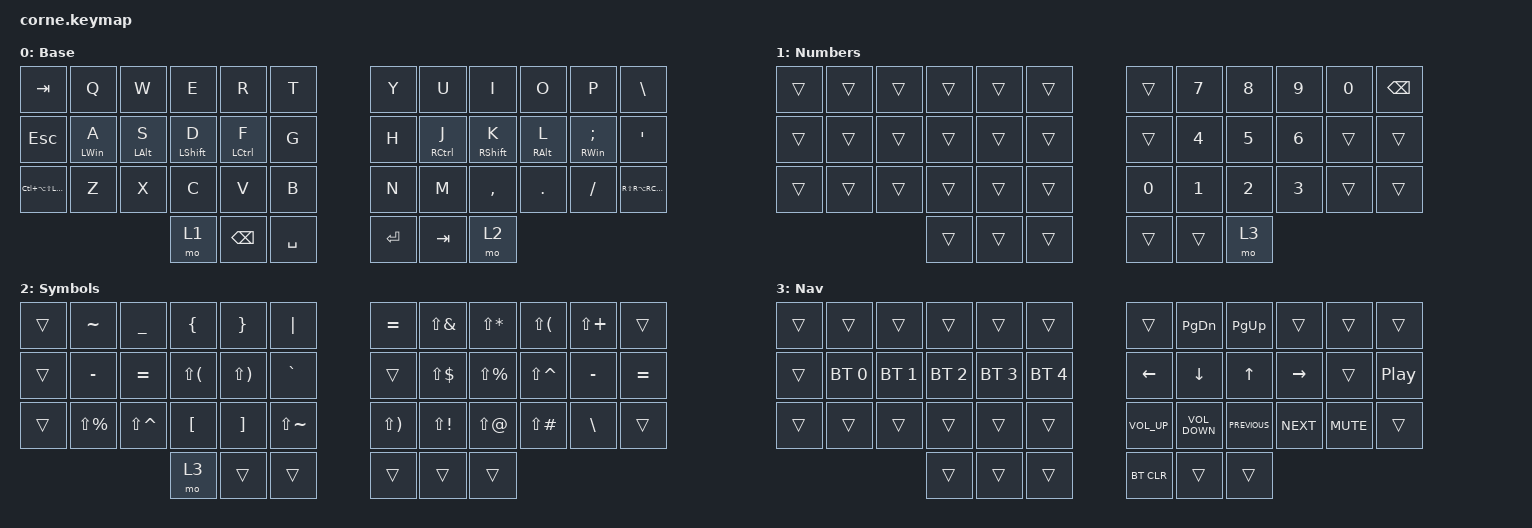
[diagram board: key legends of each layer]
/*
 * Copyright (c) 2020 The ZMK Contributors
 *
 * SPDX-License-Identifier: MIT
 */

#include <behaviors.dtsi>
#include <dt-bindings/zmk/bt.h>
#include <dt-bindings/zmk/keys.h>

&mt { flavor = "tap-preferred"; };

/ {
    keymap {
        compatible = "zmk,keymap";

        default_layer {
            // -----------------------------------------------------------------------------------------
            // |  TAB |  Q  |  W  |  E  |  R  |  T  |   |  Y  |  U   |  I  |  O  |  P  | BKSP |
            // | CTRL |  A  |  S  |  D  |  F  |  G  |   |  H  |  J   |  K  |  L  |  ;  |  '   |
            // | SHFT |  Z  |  X  |  C  |  V  |  B  |   |  N  |  M   |  ,  |  .  |  /  | ESC  |
            //                    | GUI | LWR | SPC |   | ENT | RSE  | ALT |

            display-name = "Base";
            bindings = <
&kp TAB               &kp Q           &kp W           &kp E             &kp R          &kp T        &kp Y    &kp U        &kp I              &kp O            &kp P                    &kp BACKSLASH
&kp ESC               &mt LEFT_WIN A  &mt LEFT_ALT S  &mt LEFT_SHIFT D  &mt LCTRL F    &kp G        &kp H    &mt RCTRL J  &mt RIGHT_SHIFT K  &mt RIGHT_ALT L  &mt RIGHT_WIN SEMICOLON  &kp SQT
&kp LC(LA(LS(LGUI)))  &kp Z           &kp X           &kp C             &kp V          &kp B        &kp N    &kp M        &kp COMMA          &kp DOT          &kp FSLH                 &kp RS(RA(RC(RIGHT_GUI)))
                                                      &mo 1             &kp BACKSPACE  &kp SPACE    &kp RET  &kp TAB      &mo 2
            >;
        };

        Numbers {
            // -----------------------------------------------------------------------------------------
            // |  TAB |  1  |  2  |  3  |  4  |  5  |   |  6  |  7  |  8  |  9  |  0  | BKSP |
            // | BTCLR| BT1 | BT2 | BT3 | BT4 | BT5 |   | LFT | DWN |  UP | RGT |     |      |
            // | SHFT |     |     |     |     |     |   |     |     |     |     |     |      |
            //                    | GUI |     | SPC |   | ENT |     | ALT |

            display-name = "Numbers";
            bindings = <
&trans  &trans  &trans  &trans  &trans  &trans    &trans        &kp N7        &kp N8        &kp N9        &kp N0  &kp BSPC
&trans  &trans  &trans  &trans  &trans  &trans    &trans        &kp NUMBER_4  &kp NUMBER_5  &kp NUMBER_6  &trans  &trans
&trans  &trans  &trans  &trans  &trans  &trans    &kp NUMBER_0  &kp NUMBER_1  &kp NUMBER_2  &kp NUMBER_3  &trans  &trans
                        &trans  &trans  &trans    &trans        &trans        &mo 3
            >;
        };

        Symbols {
            bindings = <
&trans  &kp TILDE      &kp UNDERSCORE  &kp LEFT_BRACE  &kp RIGHT_BRACE  &kp PIPE         &kp EQUAL     &kp LS(AMPS)  &kp LS(STAR)   &kp LS(LPAR)   &kp LS(PLUS)  &trans
&trans  &kp MINUS      &kp EQUAL       &kp LS(LPAR)    &kp LS(RPAR)     &kp GRAVE        &trans        &kp LS(DLLR)  &kp LS(PRCNT)  &kp LS(CARET)  &kp MINUS     &kp EQUAL
&trans  &kp LS(PRCNT)  &kp LS(CARET)   &kp LBKT        &kp RBKT         &kp LS(TILDE)    &kp LS(RPAR)  &kp LS(EXCL)  &kp LS(AT)     &kp LS(POUND)  &kp BSLH      &trans
                                       &mo 3           &trans           &trans           &trans        &trans        &trans
            >;

            label = "Symbols";
        };

        Navigation {
            bindings = <
&trans  &trans        &trans        &trans        &trans        &trans          &trans           &kp PAGE_DOWN      &kp PAGE_UP     &trans      &trans      &trans
&trans  &bt BT_SEL 0  &bt BT_SEL 1  &bt BT_SEL 2  &bt BT_SEL 3  &bt BT_SEL 4    &kp LEFT_ARROW   &kp DOWN_ARROW     &kp UP_ARROW    &kp RIGHT   &trans      &kp C_PLAY_PAUSE
&trans  &trans        &trans        &trans        &trans        &trans          &kp C_VOLUME_UP  &kp C_VOLUME_DOWN  &kp C_PREVIOUS  &kp C_NEXT  &kp C_MUTE  &trans
                                    &trans        &trans        &trans          &bt BT_CLR       &trans             &trans
            >;

            label = "Nav";
        };
    };
};
